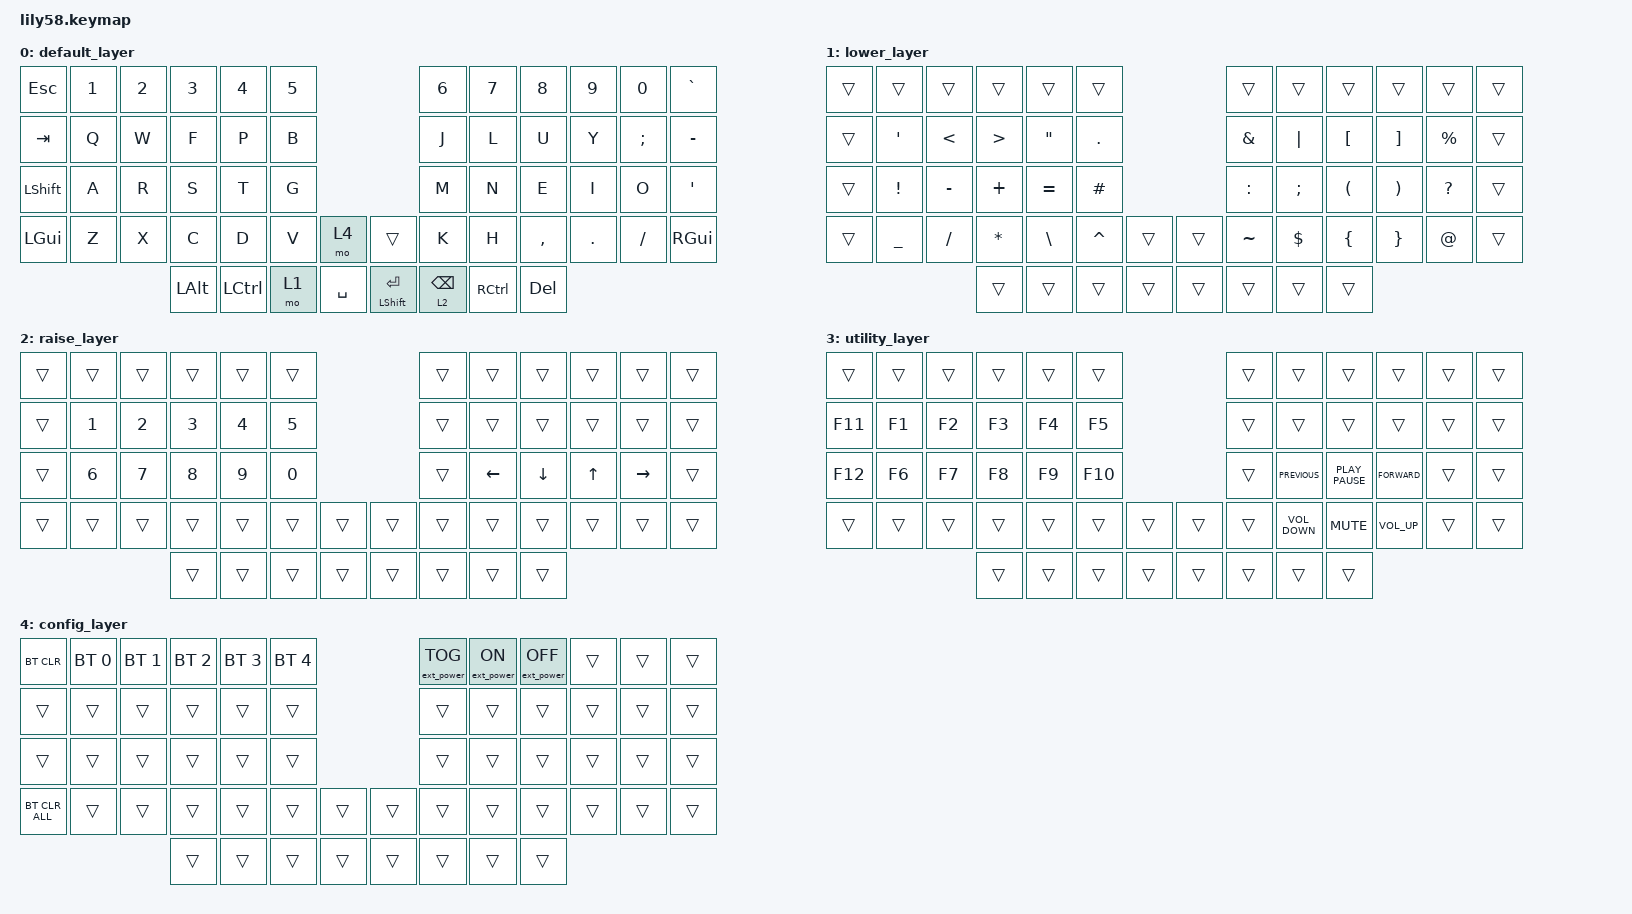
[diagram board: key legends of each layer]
/*
 * Copyright (c) 2020 The ZMK Contributors
 *
 * SPDX-License-Identifier: MIT
 */

#include <behaviors.dtsi>
#include <dt-bindings/zmk/bt.h>
#include <dt-bindings/zmk/ext_power.h>
#include <dt-bindings/zmk/keys.h>

&mt { flavor = "balanced"; };

/ {
    combos {
        compatible = "zmk,combos";

        caplocks {
            bindings = <&kp CAPS>;
            key-positions = <28 31>;
            timeout-ms = <50>;
            layers = <0>;
        };

        left_bootloader {
            bindings = <&bootloader>;
            key-positions = <50 51 52>;
        };

        right_bootloader {
            bindings = <&bootloader>;
            key-positions = <57 56 55>;
        };
    };

    keymap {
        compatible = "zmk,keymap";

        default_layer {
            // ------------------------------------------------------------------------------------------------------------
            // |  ESC  |  1  |  2  |  3   |  4   |  5   |                   |  6   |  7    |  8    |  9   |   0   |   `   |
            // |  TAB  |  Q  |  W  |  E   |  R   |  T   |                   |  Y   |  U    |  I    |  O   |   P   |   -   |
            // |  CTRL |  A  |  S  |  D   |  F   |  G   |                   |  H   |  J    |  K    |  L   |   ;   |   '   |
            // | SHIFT |  Z  |  X  |  C   |  V   |  B   |   "["  |  |  "]"  |  N   |  M    |  ,    |  .   |   /   | SHIFT |
            //                     | ALT  | GUI  | LOWER|  SPACE |  | ENTER | RAISE| BSPC  |  DEL  |

            bindings = <
&kp ESC         &kp N1  &kp N2  &kp N3    &kp N4     &kp N5                                   &kp N6           &kp N7     &kp N8     &kp N9   &kp N0    &kp GRAVE
&kp TAB         &kp Q   &kp W   &kp F     &kp P      &kp B                                    &kp J            &kp L      &kp U      &kp Y    &kp SEMI  &kp MINUS
&kp LEFT_SHIFT  &kp A   &kp R   &kp S     &kp T      &kp G                                    &kp M            &kp N      &kp E      &kp I    &kp O     &kp SQT
&kp LEFT_GUI    &kp Z   &kp X   &kp C     &kp D      &kp V   &mo 4        &trans              &kp K            &kp H      &kp COMMA  &kp DOT  &kp FSLH  &kp RIGHT_GUI
                                &kp LALT  &kp LCTRL  &mo 1   &kp SPACE    &mt LEFT_SHIFT RET  &lt 2 BACKSPACE  &kp RCTRL  &kp DEL
            >;

            // sensor-bindings = <&inc_dec_kp C_VOL_UP C_VOL_DN>;
        };

        lower_layer {
            // ------------------------------------------------------------------------------------------------------------
            // | BTCLR | BT1 | BT2 |  BT3 |  BT4 |  BT5 |                   |  TOG |  ON   |  OFF  |      |       |       |
            // |  F1   |  F2 |  F3 |  F4  |  F5  |  F6  |                   |  F7  |  F8   |  F9   |  F10 |  F11  |  F12  |
            // |   `   |  !  |  @  |  #   |  $   |  %   |                   |  ^   |  &    |  *    |  (   |   )   |   ~   |
            // |       |     |     |      |      |      |        |  |       |      |  _    |  +    |  {   |   }   |  "|"  |
            //                     |      |      |      |        |  |       |      |       |       |

            bindings = <
&trans  &trans          &trans         &trans            &trans             &trans                        &trans         &trans         &trans                &trans                 &trans        &trans
&trans  &kp SQT         &kp LESS_THAN  &kp GREATER_THAN  &kp DOUBLE_QUOTES  &kp PERIOD                    &kp AMPERSAND  &kp PIPE       &kp LEFT_BRACKET      &kp RIGHT_BRACKET      &kp PERCENT   &trans
&trans  &kp EXCL        &kp MINUS      &kp PLUS          &kp EQUAL          &kp HASH                      &kp COLON      &kp SEMICOLON  &kp LEFT_PARENTHESIS  &kp RIGHT_PARENTHESIS  &kp QUESTION  &trans
&trans  &kp UNDERSCORE  &kp SLASH      &kp STAR          &kp BACKSLASH      &kp CARET   &trans    &trans  &kp TILDE      &kp DOLLAR     &kp LEFT_BRACE        &kp RIGHT_BRACE        &kp AT_SIGN   &trans
                                       &trans            &trans             &trans      &trans    &trans  &trans         &trans         &trans
            >;

            // sensor-bindings = <&inc_dec_kp C_VOL_UP C_VOL_DN>;
        };

        raise_layer {
            // ------------------------------------------------------------------------------------------------------------
            // |       |     |     |      |      |      |                   |      |       |       |      |       |       |
            // |   `   |  1  |  2  |  3   |  4   |  5   |                   |  6   |   7   |   8   |  9   |   0   |       |
            // |   F1  |  F2 |  F3 |  F4  |  F5  |  F6  |                   |  <-  |   v   |   ^   |  ->  |       |       |
            // |   F7  |  F8 |  F9 |  F10 |  F11 |  F12 |        |  |       |  +   |   -   |   =   |  [   |   ]   |   \   |
            //                     |      |      |      |        |  |       |      |       |       |

            bindings = <
&trans  &trans  &trans  &trans  &trans  &trans                    &trans  &trans    &trans    &trans  &trans     &trans
&trans  &kp N1  &kp N2  &kp N3  &kp N4  &kp N5                    &trans  &trans    &trans    &trans  &trans     &trans
&trans  &kp N6  &kp N7  &kp N8  &kp N9  &kp N0                    &trans  &kp LEFT  &kp DOWN  &kp UP  &kp RIGHT  &trans
&trans  &trans  &trans  &trans  &trans  &trans  &trans    &trans  &trans  &trans    &trans    &trans  &trans     &trans
                        &trans  &trans  &trans  &trans    &trans  &trans  &trans    &trans
            >;

            // sensor-bindings = <&inc_dec_kp C_VOL_UP C_VOL_DN>;
        };

        utility_layer {
            bindings = <
&trans   &trans  &trans  &trans  &trans  &trans                     &trans  &trans             &trans            &trans           &trans  &trans
&kp F11  &kp F1  &kp F2  &kp F3  &kp F4  &kp F5                     &trans  &trans             &trans            &trans           &trans  &trans
&kp F12  &kp F6  &kp F7  &kp F8  &kp F9  &kp F10                    &trans  &kp K_PREVIOUS     &kp K_PLAY_PAUSE  &kp K_FORWARD    &trans  &trans
&trans   &trans  &trans  &trans  &trans  &trans   &trans    &trans  &trans  &kp K_VOLUME_DOWN  &kp K_MUTE        &kp K_VOLUME_UP  &trans  &trans
                         &trans  &trans  &trans   &trans    &trans  &trans  &trans             &trans
            >;
        };

        config_layer {
            bindings = <
&bt BT_CLR      &bt BT_SEL 0  &bt BT_SEL 1  &bt BT_SEL 2  &bt BT_SEL 3  &bt BT_SEL 4                    &ext_power EP_TOG  &ext_power EP_ON  &ext_power EP_OFF  &trans  &trans  &trans
&trans          &trans        &trans        &trans        &trans        &trans                          &trans             &trans            &trans             &trans  &trans  &trans
&trans          &trans        &trans        &trans        &trans        &trans                          &trans             &trans            &trans             &trans  &trans  &trans
&bt BT_CLR_ALL  &trans        &trans        &trans        &trans        &trans        &trans    &trans  &trans             &trans            &trans             &trans  &trans  &trans
                                            &trans        &trans        &trans        &trans    &trans  &trans             &trans            &trans
            >;
        };
    };

    conditional_layers {
        compatible = "zmk,conditional-layers";

        utility {
            if-layers = <1 2>;
            then-layer = <3>;
        };
    };
};
